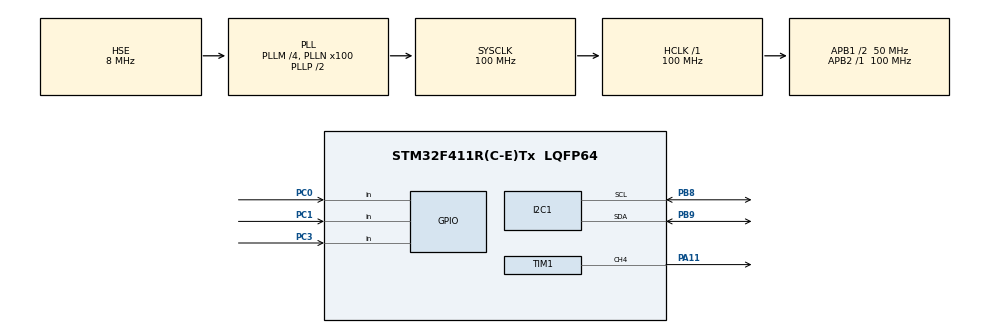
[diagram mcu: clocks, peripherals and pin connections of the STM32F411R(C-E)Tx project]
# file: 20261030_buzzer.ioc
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Mcu.Family=STM32F4
Mcu.Name=STM32F411R(C-E)Tx
Mcu.Package=LQFP64
NVIC.PriorityGroup=NVIC_PRIORITYGROUP_4
PA11.Signal=S_TIM1_CH4
PA13.Mode=Serial_Wire
PA13.Signal=SYS_JTMS-SWDIO
PA14.Mode=Serial_Wire
PA14.Signal=SYS_JTCK-SWCLK
PB8.Mode=I2C
PB8.Signal=I2C1_SCL
PB9.Mode=I2C
PB9.Signal=I2C1_SDA
PC0.Signal=GPIO_Input
PC1.Signal=GPIO_Input
PC3.Signal=GPIO_Input
PH0\ -\ OSC_IN.Mode=HSE-External-Oscillator
PH0\ -\ OSC_IN.Signal=RCC_OSC_IN
PH1\ -\ OSC_OUT.Mode=HSE-External-Oscillator
PH1\ -\ OSC_OUT.Signal=RCC_OSC_OUT
ProjectManager.HeapSize=0x200
ProjectManager.StackSize=0x400
ProjectManager.TargetToolchain=STM32CubeIDE
RCC.48MHZClocksFreq_Value=50000000
RCC.AHBFreq_Value=100000000
RCC.APB1CLKDivider=RCC_HCLK_DIV2
RCC.APB1Freq_Value=50000000
RCC.APB1TimFreq_Value=100000000
RCC.APB2Freq_Value=100000000
RCC.APB2TimFreq_Value=100000000
RCC.CortexFreq_Value=100000000
RCC.HCLKFreq_Value=100000000
RCC.HSE_VALUE=8000000
RCC.HSI_VALUE=16000000
RCC.LSE_VALUE=32768
RCC.PLLM=4
RCC.PLLN=100
RCC.PLLSourceVirtual=RCC_PLLSOURCE_HSE
RCC.SYSCLKFreq_VALUE=100000000
RCC.SYSCLKSource=RCC_SYSCLKSOURCE_PLLCLK
RCC.VCOOutputFreq_Value=200000000
SH.S_TIM1_CH4.0=TIM1_CH4,PWM Generation4 CH4
TIM1.AutoReloadPreload=TIM_AUTORELOAD_PRELOAD_ENABLE
TIM1.Channel-PWM\ Generation4\ CH4=TIM_CHANNEL_4
TIM1.Prescaler=100-1
board=custom

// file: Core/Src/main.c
/* USER CODE BEGIN Header */
/**
 ******************************************************************************
 * @file           : main.c
 * @brief          : Main program body
 ******************************************************************************
 * @attention
 *
 * Copyright (c) 2026 STMicroelectronics.
 * All rights reserved.
 *
 * This software is licensed under terms that can be found in the LICENSE file
 * in the root directory of this software component.
 * If no LICENSE file comes with this software, it is provided AS-IS.
 *
 ******************************************************************************
 */
/* USER CODE END Header */
#include "main.h"

/* USER CODE BEGIN Includes */
#include "driver/button/button.h"
#include "ap/service/sound/sound.h"
#include "ap/ap_main.h"
#include <stdbool.h>
#include <string.h>
/* USER CODE END Includes */

I2C_HandleTypeDef hi2c1;

TIM_HandleTypeDef htim1;

void SystemClock_Config(void);
static void MX_GPIO_Init(void);
static void MX_TIM1_Init(void);
static void MX_I2C1_Init(void);

/* USER CODE BEGIN 0 */
typedef struct
{
	uint8_t *buf;       // Pointer to the queue's backing storage
	uint16_t elem_size; // Size of each element in bytes
	uint16_t capacity;  // Number of element slots in the backing storage
	uint16_t head;      // Index of the next slot to write (enqueue)
	uint16_t tail;      // Index of the next slot to read (dequeue)
} 	que_buf_t;

// void pointer means capability of getting all type of data
void que_buf_init(que_buf_t *que, void *storage, uint16_t capacity)
{
	que->head = 0;
	que->tail = 0;
	que->buf = (uint8_t *)storage;
	que->elem_size = elem_size;
	que->capacity = capacity;
}

int que_ary[4];
int head = 0;
int tail = 0;

bool que_is_empty(void)
{
	return (tail+1)%4 == head;
}
bool que_is_full(void)
{
	return (head+1)%4 == tail;
}
uint8_t *slot(que_buf_t *que, uint16_t n)
{
	return que->buf + que->head * que->elem_size;
}
uint16_t next(que_buf_t *que, uint16_t i)
{
	return (uint16_t)((i+1)%que->capacity);
}
bool que_put(*que, void *elem)
{
	if(que_is_full())
	{
		return false;
	}
//	(que->buf + que->head * que-> elem_size) //<- adress to save data
	uint16_t head = que->head;
	uint16_t next_head = next(que,head);
	memcpy(slot(que,h),elem,que-elem_size);

	que_ary[head] = data;
	head = (head+1)%4;
	return true;
}

bool que_get(int *data)
{
	if(que_is_empty()){
		return false;
	}
	*data = que_ary[head];
	tail++;
	return true;
}

/* USER CODE END 0 */

int main(void)
{

	/* MCU Configuration--------------------------------------------------------*/

	/* Reset of all peripherals, Initializes the Flash interface and the Systick. */
	HAL_Init();

	/* Configure the system clock */
	SystemClock_Config();

	/* Initialize all configured peripherals */
	MX_GPIO_Init();
	MX_TIM1_Init();
	MX_I2C1_Init();
	/* USER CODE BEGIN 2 */
	int count = 8;
	int* var = 0 ;
	que_put(count++);
	que_put(count++);
	que_put(count++);
	que_put(count++);
	que_put(count++);

	que_get(var);
	que_get(var);
	que_get(var);
	que_get(var); // empty from here
	que_get(var);

	/* USER CODE END 2 */

	/* Infinite loop */
	/* USER CODE BEGIN WHILE */
	while (1)
	{
//		ap_main();

		/* USER CODE END WHILE */

	}
}

void SystemClock_Config(void)
{
	RCC_OscInitTypeDef RCC_OscInitStruct = {0};
	RCC_ClkInitTypeDef RCC_ClkInitStruct = {0};

	/** Configure the main internal regulator output voltage
	 */
	__HAL_RCC_PWR_CLK_ENABLE();
	__HAL_PWR_VOLTAGESCALING_CONFIG(PWR_REGULATOR_VOLTAGE_SCALE1);

	/** Initializes the RCC Oscillators according to the specified parameters
	 * in the RCC_OscInitTypeDef structure.
	 */
	RCC_OscInitStruct.OscillatorType = RCC_OSCILLATORTYPE_HSE;
	RCC_OscInitStruct.HSEState = RCC_HSE_ON;
	RCC_OscInitStruct.PLL.PLLState = RCC_PLL_ON;
	RCC_OscInitStruct.PLL.PLLSource = RCC_PLLSOURCE_HSE;
	RCC_OscInitStruct.PLL.PLLM = 4;
	RCC_OscInitStruct.PLL.PLLN = 100;
	RCC_OscInitStruct.PLL.PLLP = RCC_PLLP_DIV2;
	RCC_OscInitStruct.PLL.PLLQ = 4;
	if (HAL_RCC_OscConfig(&RCC_OscInitStruct) != HAL_OK)
	{
		Error_Handler();
	}

	/** Initializes the CPU, AHB and APB buses clocks
	 */
	RCC_ClkInitStruct.ClockType = RCC_CLOCKTYPE_HCLK|RCC_CLOCKTYPE_SYSCLK
			|RCC_CLOCKTYPE_PCLK1|RCC_CLOCKTYPE_PCLK2;
	RCC_ClkInitStruct.SYSCLKSource = RCC_SYSCLKSOURCE_PLLCLK;
	RCC_ClkInitStruct.AHBCLKDivider = RCC_SYSCLK_DIV1;
	RCC_ClkInitStruct.APB1CLKDivider = RCC_HCLK_DIV2;
	RCC_ClkInitStruct.APB2CLKDivider = RCC_HCLK_DIV1;

	if (HAL_RCC_ClockConfig(&RCC_ClkInitStruct, FLASH_LATENCY_3) != HAL_OK)
	{
		Error_Handler();
	}
}

static void MX_I2C1_Init(void)
{

	hi2c1.Instance = I2C1;
	hi2c1.Init.ClockSpeed = 100000;
	hi2c1.Init.DutyCycle = I2C_DUTYCYCLE_2;
	hi2c1.Init.OwnAddress1 = 0;
	hi2c1.Init.AddressingMode = I2C_ADDRESSINGMODE_7BIT;
	hi2c1.Init.DualAddressMode = I2C_DUALADDRESS_DISABLE;
	hi2c1.Init.OwnAddress2 = 0;
	hi2c1.Init.GeneralCallMode = I2C_GENERALCALL_DISABLE;
	hi2c1.Init.NoStretchMode = I2C_NOSTRETCH_DISABLE;
	if (HAL_I2C_Init(&hi2c1) != HAL_OK)
	{
		Error_Handler();
	}

}

static void MX_TIM1_Init(void)
{

	TIM_MasterConfigTypeDef sMasterConfig = {0};
	TIM_OC_InitTypeDef sConfigOC = {0};
	TIM_BreakDeadTimeConfigTypeDef sBreakDeadTimeConfig = {0};

	htim1.Instance = TIM1;
	htim1.Init.Prescaler = 100-1;
	htim1.Init.CounterMode = TIM_COUNTERMODE_UP;
	htim1.Init.Period = 65535;
	htim1.Init.ClockDivision = TIM_CLOCKDIVISION_DIV1;
	htim1.Init.RepetitionCounter = 0;
	htim1.Init.AutoReloadPreload = TIM_AUTORELOAD_PRELOAD_ENABLE;
	if (HAL_TIM_PWM_Init(&htim1) != HAL_OK)
	{
		Error_Handler();
	}
	sMasterConfig.MasterOutputTrigger = TIM_TRGO_RESET;
	sMasterConfig.MasterSlaveMode = TIM_MASTERSLAVEMODE_DISABLE;
	if (HAL_TIMEx_MasterConfigSynchronization(&htim1, &sMasterConfig) != HAL_OK)
	{
		Error_Handler();
	}
	sConfigOC.OCMode = TIM_OCMODE_PWM1;
	sConfigOC.Pulse = 0;
	sConfigOC.OCPolarity = TIM_OCPOLARITY_HIGH;
	sConfigOC.OCFastMode = TIM_OCFAST_DISABLE;
	sConfigOC.OCIdleState = TIM_OCIDLESTATE_RESET;
	sConfigOC.OCNIdleState = TIM_OCNIDLESTATE_RESET;
	if (HAL_TIM_PWM_ConfigChannel(&htim1, &sConfigOC, TIM_CHANNEL_4) != HAL_OK)
	{
		Error_Handler();
	}
	sBreakDeadTimeConfig.OffStateRunMode = TIM_OSSR_DISABLE;
	sBreakDeadTimeConfig.OffStateIDLEMode = TIM_OSSI_DISABLE;
	sBreakDeadTimeConfig.LockLevel = TIM_LOCKLEVEL_OFF;
	sBreakDeadTimeConfig.DeadTime = 0;
	sBreakDeadTimeConfig.BreakState = TIM_BREAK_DISABLE;
	sBreakDeadTimeConfig.BreakPolarity = TIM_BREAKPOLARITY_HIGH;
	sBreakDeadTimeConfig.AutomaticOutput = TIM_AUTOMATICOUTPUT_DISABLE;
	if (HAL_TIMEx_ConfigBreakDeadTime(&htim1, &sBreakDeadTimeConfig) != HAL_OK)
	{
		Error_Handler();
	}
	HAL_TIM_MspPostInit(&htim1);

}

static void MX_GPIO_Init(void)
{
	GPIO_InitTypeDef GPIO_InitStruct = {0};

	/* GPIO Ports Clock Enable */
	__HAL_RCC_GPIOH_CLK_ENABLE();
	__HAL_RCC_GPIOC_CLK_ENABLE();
	__HAL_RCC_GPIOA_CLK_ENABLE();
	__HAL_RCC_GPIOB_CLK_ENABLE();

	/*Configure GPIO pins : PC0 PC1 PC3 */
	GPIO_InitStruct.Pin = GPIO_PIN_0|GPIO_PIN_1|GPIO_PIN_3;
	GPIO_InitStruct.Mode = GPIO_MODE_INPUT;
	GPIO_InitStruct.Pull = GPIO_NOPULL;
	HAL_GPIO_Init(GPIOC, &GPIO_InitStruct);

}

void Error_Handler(void)
{
	__disable_irq();
	while (1)
	{
	}
}
